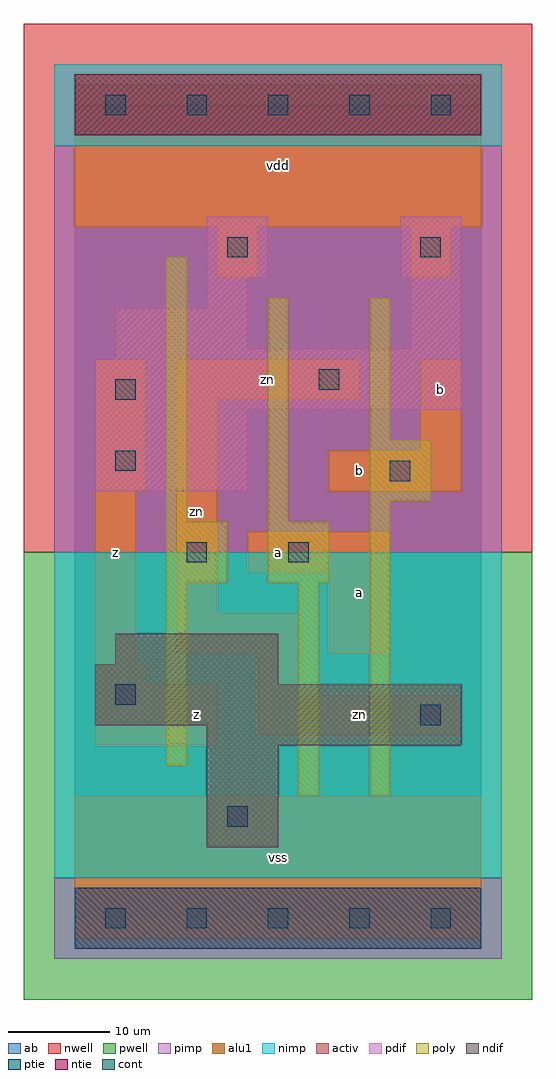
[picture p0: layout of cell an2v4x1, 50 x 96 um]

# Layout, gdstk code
import gdstk
lib = gdstk.Library(unit=1e-6, precision=1e-09)
def R(c, l, rs):  # rectangles x0, y0, x1, y1
    for r in rs: c.add(gdstk.rectangle(r[:2], r[2:], *l))
def A(c, l, x, y, w, h, nx, ny, dx, dy):  # array of equal rectangles
    R(c, l, [(x+i*dx, y+j*dy, x+i*dx+w, y+j*dy+h) for i in range(nx) for j in range(ny)])
ndif = (3, 0)
pdif = (4, 0)
ntie = (5, 0)
ptie = (6, 0)
cont = (25, 0)
pwell = (41, 0)
nwell = (42, 0)
activ = (43, 0)
pimp = (44, 0)
nimp = (45, 0)
poly = (46, 0)
alu1 = (49, 0)
ab = (63, 0)

an2v4x1 = lib.new_cell('an2v4x1')
R(an2v4x1, ndif, [(13,7,20,17), (13,17,38,19), (2,19,38,23), (2,23,20,25), (4,25,20,28)])
R(an2v4x1, pdif, [(2,42,17,50), (2,50,38,55), (4,55,38,56), (4,56,17,60), (33,56,38,63), (13,60,17,63), (13,63,19,69), (32,63,38,69)])
R(an2v4x1, ntie, [(0,77,40,83)])
R(an2v4x1, ptie, [(0,-3,40,3)])
A(an2v4x1, cont, 3, -1, 2, 2, 5, 2, 8, 80)
R(an2v4x1, cont, [(15,9,17,11), (34,19,36,21), (4,21,6,23), (11,35,13,37), (21,35,23,37), (31,43,33,45), (4,44,6,46), (4,51,6,53), (24,52,26,54), (15,65,17,67), (34,65,36,67)])
R(an2v4x1, pwell, [(-5,-8,45,36)])
R(an2v4x1, nwell, [(-5,36,45,88)])
R(an2v4x1, activ, [(0,-3,40,3), (13,7,20,17), (13,17,38,19), (2,19,38,23), (2,23,20,25), (4,25,20,28), (2,42,17,50), (2,50,38,55), (4,55,38,56), (4,56,17,60), (33,56,38,63), (13,60,17,63), (13,63,19,69), (32,63,38,69), (0,77,40,83)])
R(an2v4x1, pimp, [(-2,-4,42,4), (-2,36,42,76)])
R(an2v4x1, nimp, [(-2,4,42,36), (-2,76,42,84)])
R(an2v4x1, poly, [(22,12,24,33), (29,12,31,41), (9,15,11,33), (9,33,15,39), (19,33,25,39), (9,39,11,65), (19,39,21,61), (29,41,35,47), (29,47,31,61)])
R(an2v4x1, alu1, [(0,-2,40,12), (2,17,14,23), (18,18,38,22), (18,22,22,26), (2,23,7,25), (2,25,6,42), (10,26,22,30), (25,26,31,34), (10,30,14,51), (17,34,31,38), (2,42,7,55), (25,42,38,46), (34,46,38,55), (10,51,28,55), (14,63,18,68), (33,63,37,68), (0,68,40,82)])
R(an2v4x1, ab, [(0,0,40,80)])
an2v4x1.add(gdstk.Label('zn', (12,40), layer=49, texttype=0))
an2v4x1.add(gdstk.Label('zn', (19,53), layer=49, texttype=0))
an2v4x1.add(gdstk.Label('zn', (28,20), layer=49, texttype=0))
an2v4x1.add(gdstk.Label('z', (4,36), layer=49, texttype=0))
an2v4x1.add(gdstk.Label('z', (12,20), layer=49, texttype=0))
an2v4x1.add(gdstk.Label('vss', (20,6), layer=49, texttype=0))
an2v4x1.add(gdstk.Label('a', (20,36), layer=49, texttype=0))
an2v4x1.add(gdstk.Label('a', (28,32), layer=49, texttype=0))
an2v4x1.add(gdstk.Label('b', (28,44), layer=49, texttype=0))
an2v4x1.add(gdstk.Label('vdd', (20,74), layer=49, texttype=0))
an2v4x1.add(gdstk.Label('b', (36,52), layer=49, texttype=0))

lib.write_gds('an2v4x1.gds')
